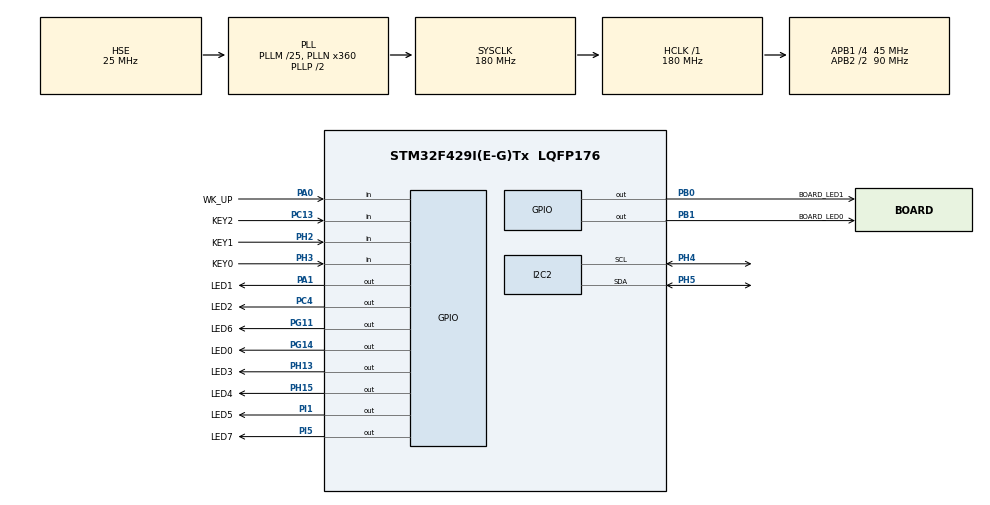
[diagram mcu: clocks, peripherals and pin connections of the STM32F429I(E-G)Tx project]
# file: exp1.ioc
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Mcu.Family=STM32F4
Mcu.Name=STM32F429I(E-G)Tx
Mcu.Package=LQFP176
NVIC.PriorityGroup=NVIC_PRIORITYGROUP_4
PA0/WKUP.GPIO_Label=WK_UP
PA0/WKUP.GPIO_PuPd=GPIO_PULLDOWN
PA0/WKUP.Signal=GPIO_Input
PA13.Mode=Serial_Wire
PA13.Signal=SYS_JTMS-SWDIO
PA14.Mode=Serial_Wire
PA14.Signal=SYS_JTCK-SWCLK
PB0.GPIO_Label=BOARD_LED1
PB0.GPIO_PuPd=GPIO_PULLUP
PB0.GPIO_Speed=GPIO_SPEED_FREQ_HIGH
PB0.PinState=GPIO_PIN_SET
PB0.Signal=GPIO_Output
PB1.GPIO_Label=BOARD_LED0
PB1.GPIO_ModeDefaultOutputPP=GPIO_MODE_OUTPUT_PP
PB1.GPIO_PuPd=GPIO_PULLUP
PB1.GPIO_Speed=GPIO_SPEED_FREQ_HIGH
PB1.PinState=GPIO_PIN_SET
PB1.Signal=GPIO_Output
PC13.GPIO_Label=KEY2
PC13.GPIO_PuPd=GPIO_PULLUP
PC13.Signal=GPIO_Input
PC14/OSC32_IN.Mode=LSE-External-Oscillator
PC14/OSC32_IN.Signal=RCC_OSC32_IN
PC15/OSC32_OUT.Mode=LSE-External-Oscillator
PC15/OSC32_OUT.Signal=RCC_OSC32_OUT
PH0/OSC_IN.Mode=HSE-External-Oscillator
PH0/OSC_IN.Signal=RCC_OSC_IN
PH1/OSC_OUT.Mode=HSE-External-Oscillator
PH1/OSC_OUT.Signal=RCC_OSC_OUT
PH2.GPIO_Label=KEY1
PH2.GPIO_PuPd=GPIO_PULLUP
PH2.Signal=GPIO_Input
PH3.GPIO_Label=KEY0
PH3.GPIO_PuPd=GPIO_PULLUP
PH3.Signal=GPIO_Input
PH4.Mode=I2C
PH4.Signal=I2C2_SCL
PH5.Mode=I2C
PH5.Signal=I2C2_SDA
ProjectManager.HeapSize=0x200
ProjectManager.StackSize=0x400
ProjectManager.TargetToolchain=STM32CubeIDE
RCC.48MHZClocksFreq_Value=90000000
RCC.AHBFreq_Value=180000000
RCC.APB1CLKDivider=RCC_HCLK_DIV4
RCC.APB1Freq_Value=45000000
RCC.APB1TimFreq_Value=90000000
RCC.APB2CLKDivider=RCC_HCLK_DIV2
RCC.APB2Freq_Value=90000000
RCC.APB2TimFreq_Value=180000000
RCC.CortexFreq_Value=180000000
RCC.HCLKFreq_Value=180000000
RCC.HSE_VALUE=25000000
RCC.HSI_VALUE=16000000
RCC.PLLM=25
RCC.PLLN=360
RCC.PLLSourceVirtual=RCC_PLLSOURCE_HSE
RCC.SYSCLKFreq_VALUE=180000000
RCC.SYSCLKSource=RCC_SYSCLKSOURCE_PLLCLK
RCC.VCOOutputFreq_Value=360000000
board=custom
PG14.GPIO_Label=LED0
PG14.GPIO_ModeDefaultOutputPP=GPIO_MODE_OUTPUT_PP
PG14.GPIO_PuPd=GPIO_PULLUP
PG14.GPIO_Speed=GPIO_SPEED_FREQ_HIGH
PG14.PinState=GPIO_PIN_SET
PG14.Signal=GPIO_Output
PA1.GPIO_Label=LED1
PA1.GPIO_ModeDefaultOutputPP=GPIO_MODE_OUTPUT_PP
PA1.GPIO_PuPd=GPIO_PULLUP
PA1.GPIO_Speed=GPIO_SPEED_FREQ_HIGH
PA1.PinState=GPIO_PIN_SET
PA1.Signal=GPIO_Output
PC4.GPIO_Label=LED2
PC4.GPIO_ModeDefaultOutputPP=GPIO_MODE_OUTPUT_PP
PC4.GPIO_PuPd=GPIO_PULLUP
PC4.GPIO_Speed=GPIO_SPEED_FREQ_HIGH
PC4.PinState=GPIO_PIN_SET
PC4.Signal=GPIO_Output
PH13.GPIO_Label=LED3
PH13.GPIO_ModeDefaultOutputPP=GPIO_MODE_OUTPUT_PP
PH13.GPIO_PuPd=GPIO_PULLUP
PH13.GPIO_Speed=GPIO_SPEED_FREQ_HIGH
PH13.PinState=GPIO_PIN_SET
PH13.Signal=GPIO_Output
PH15.GPIO_Label=LED4
PH15.GPIO_ModeDefaultOutputPP=GPIO_MODE_OUTPUT_PP
PH15.GPIO_PuPd=GPIO_PULLUP
PH15.GPIO_Speed=GPIO_SPEED_FREQ_HIGH
PH15.PinState=GPIO_PIN_SET
PH15.Signal=GPIO_Output
PI1.GPIO_Label=LED5
PI1.GPIO_ModeDefaultOutputPP=GPIO_MODE_OUTPUT_PP
PI1.GPIO_PuPd=GPIO_PULLUP
PI1.GPIO_Speed=GPIO_SPEED_FREQ_HIGH
PI1.PinState=GPIO_PIN_SET
PI1.Signal=GPIO_Output
PG11.GPIO_Label=LED6
PG11.GPIO_ModeDefaultOutputPP=GPIO_MODE_OUTPUT_PP
PG11.GPIO_PuPd=GPIO_PULLUP
PG11.GPIO_Speed=GPIO_SPEED_FREQ_HIGH
PG11.PinState=GPIO_PIN_SET
PG11.Signal=GPIO_Output
PI5.GPIO_Label=LED7
PI5.GPIO_ModeDefaultOutputPP=GPIO_MODE_OUTPUT_PP
PI5.GPIO_PuPd=GPIO_PULLUP
PI5.GPIO_Speed=GPIO_SPEED_FREQ_HIGH
PI5.PinState=GPIO_PIN_SET
PI5.Signal=GPIO_Output

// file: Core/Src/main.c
/* USER CODE BEGIN Header */
/**
  ******************************************************************************
  * @file           : main.c
  * @brief          : Main program body
  ******************************************************************************
  * @attention
  *
  * Copyright (c) 2026 STMicroelectronics.
  * All rights reserved.
  *
  * This software is licensed under terms that can be found in the LICENSE file
  * in the root directory of this software component.
  * If no LICENSE file comes with this software, it is provided AS-IS.
  *
  ******************************************************************************
  */
/* USER CODE END Header */
#include "main.h"
#include "i2c.h"
#include "gpio.h"

/* USER CODE BEGIN Includes */
#include "led.h"
#include "key.h"
#include "beep.h"
#include "effects.h"
/* USER CODE END Includes */

void SystemClock_Config(void);

int main(void)
{

  /* USER CODE BEGIN 1 */
	uint32_t key_tick    = 0;   /* 上次按键扫描时刻 */
	uint32_t effect_tick = 0;  /* 上次灯效节拍时刻 */
	uint32_t hb_tick     = 0;  /* 心跳翻转时刻 */
  /* USER CODE END 1 */

  /* MCU Configuration--------------------------------------------------------*/

  /* Reset of all peripherals, Initializes the Flash interface and the Systick. */
  HAL_Init();

  /* Configure the system clock */
  SystemClock_Config();

  /* Initialize all configured peripherals */
  MX_GPIO_Init();
  MX_I2C2_Init();
  /* USER CODE BEGIN 2 */
  /* 上电自检：8 灯全亮 500ms 后全灭（用于接线验证） */
    LED_Write(0xFF);
    HAL_Delay(500);
    LED_Write(0x00);

    if (BEEP_Init() != 0) {
        BOARD_LED1_Set(1);        /* PCF8574 无应答：板载 LED1 常亮提示 */
    } else {
        BEEP_Beep(80);           /* 自检通过：滴一声 */
    }
    EFFECT_Set(1);                /* 默认特效 1 */
  /* USER CODE END 2 */

  /* Infinite loop */
  while (1)
  {

    /* ---- 每 10ms 扫描按键（采样周期即消抖窗口） ---- */
    if (HAL_GetTick() - key_tick >= 10) {
        key_tick = HAL_GetTick();
        uint8_t ev = KEY_Scan();
        if (ev != KEY_NONE) {
            BEEP_Beep(80);      /* 有效按键：蜂鸣器短鸣一声（非阻塞） */
            EFFECT_Set(ev);     /* KEY0~KEY2、WK_UP -> 特效 1~4 */
        }
    }

    /* ---- 灯效节拍：每 150ms 推进一步 ---- */
    if (HAL_GetTick() - effect_tick >= 150) {
        effect_tick = HAL_GetTick();
        EFFECT_Step();
    }

    /* ---- 蜂鸣器到时自动关闭 ---- */
    BEEP_Task();

    /* ---- 板载 LED0 心跳：500ms 翻转，表示程序在运行 ---- */
    if (HAL_GetTick() - hb_tick >= 500) {
        hb_tick = HAL_GetTick();
        HAL_GPIO_TogglePin(BOARD_LED0_GPIO_Port, BOARD_LED0_Pin);
    }
  }
}

void SystemClock_Config(void)
{
  RCC_OscInitTypeDef RCC_OscInitStruct = {0};
  RCC_ClkInitTypeDef RCC_ClkInitStruct = {0};

  /** Configure the main internal regulator output voltage
  */
  __HAL_RCC_PWR_CLK_ENABLE();
  __HAL_PWR_VOLTAGESCALING_CONFIG(PWR_REGULATOR_VOLTAGE_SCALE1);

  /** Initializes the RCC Oscillators according to the specified parameters
  * in the RCC_OscInitTypeDef structure.
  */
  RCC_OscInitStruct.OscillatorType = RCC_OSCILLATORTYPE_HSE;
  RCC_OscInitStruct.HSEState = RCC_HSE_ON;
  RCC_OscInitStruct.PLL.PLLState = RCC_PLL_ON;
  RCC_OscInitStruct.PLL.PLLSource = RCC_PLLSOURCE_HSE;
  RCC_OscInitStruct.PLL.PLLM = 25;
  RCC_OscInitStruct.PLL.PLLN = 360;
  RCC_OscInitStruct.PLL.PLLP = RCC_PLLP_DIV2;
  RCC_OscInitStruct.PLL.PLLQ = 4;
  if (HAL_RCC_OscConfig(&RCC_OscInitStruct) != HAL_OK)
  {
    Error_Handler();
  }

  /** Activate the Over-Drive mode
  */
  if (HAL_PWREx_EnableOverDrive() != HAL_OK)
  {
    Error_Handler();
  }

  /** Initializes the CPU, AHB and APB buses clocks
  */
  RCC_ClkInitStruct.ClockType = RCC_CLOCKTYPE_HCLK|RCC_CLOCKTYPE_SYSCLK
                              |RCC_CLOCKTYPE_PCLK1|RCC_CLOCKTYPE_PCLK2;
  RCC_ClkInitStruct.SYSCLKSource = RCC_SYSCLKSOURCE_PLLCLK;
  RCC_ClkInitStruct.AHBCLKDivider = RCC_SYSCLK_DIV1;
  RCC_ClkInitStruct.APB1CLKDivider = RCC_HCLK_DIV4;
  RCC_ClkInitStruct.APB2CLKDivider = RCC_HCLK_DIV2;

  if (HAL_RCC_ClockConfig(&RCC_ClkInitStruct, FLASH_LATENCY_5) != HAL_OK)
  {
    Error_Handler();
  }
}

void Error_Handler(void)
{
  __disable_irq();
  while (1)
  {
  }
}
